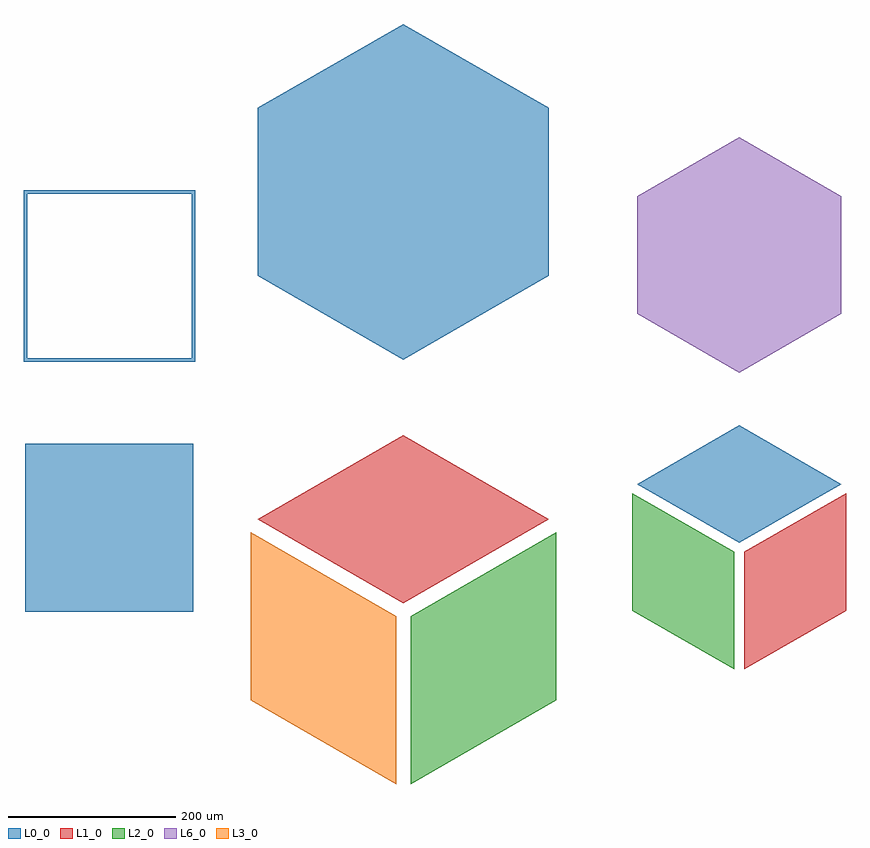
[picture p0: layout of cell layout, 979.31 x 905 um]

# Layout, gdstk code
import gdstk
lib = gdstk.Library(unit=1e-6, precision=5e-09)
def R(c, l, rs):  # rectangles x0, y0, x1, y1
    for r in rs: c.add(gdstk.rectangle(r[:2], r[2:], *l))
def P(c, l, *ps):  # polygons
    for p in ps: c.add(gdstk.Polygon(p, *l))
L0_0 = (0, 0)
L1_0 = (1, 0)
L2_0 = (2, 0)
L3_0 = (3, 0)
L6_0 = (6, 0)

rectangles = lib.new_cell('rectangles')
R(rectangles, L0_0, [(-100,-250,100,-50)])
P(rectangles, L0_0, [(98,248),(-98,248),(-98,52),(98,52),(102,48),(-102,48),(-102,252),(102,252)],
  [(-98,52),(98,52),(98,248),(-98,248),(-102,252),(102,252),(102,48),(-102,48)])

imp1_filled = lib.new_cell('imp1_filled')
P(imp1_filled, L1_0, [(0,10),(173.205,110),(0,210),(-173.205,110)])
P(imp1_filled, L2_0, [(8.66,-5),(181.865,95),(181.865,-105),(8.66,-205)])
P(imp1_filled, L3_0, [(-8.66,-5),(-181.865,95),(-181.865,-105),(-8.66,-205)])

imp1_open = lib.new_cell('imp1_open')
P(imp1_open, L0_0, [(-173.205,100),(-173.205,-100),(0,-200),(173.205,-100),(173.205,100),(0,200)])

imp1_layout = lib.new_cell('imp1_layout')
imp1_layout.add(gdstk.Reference(imp1_filled, (0,-250)))
imp1_layout.add(gdstk.Reference(imp1_open, (0,250)))

imp2_filled = lib.new_cell('imp2_filled')
P(imp2_filled, L0_0, [(0,7),(121.245,77),(0,147),(-121.245,77)])
P(imp2_filled, L1_0, [(6.06,-3.5),(127.305,66.5),(127.305,-73.5),(6.06,-143.5)])
P(imp2_filled, L2_0, [(-6.06,-3.5),(-127.305,66.5),(-127.305,-73.5),(-6.06,-143.5)])

imp2_open = lib.new_cell('imp2_open')
P(imp2_open, L6_0, [(-121.245,70),(-121.245,-70),(0,-140),(121.245,-70),(121.245,70),(0,140)])

imp2_layout = lib.new_cell('imp2_layout')
imp2_layout.add(gdstk.Reference(imp2_filled, (0,-175)))
imp2_layout.add(gdstk.Reference(imp2_open, (0,175)))

layout = lib.new_cell('layout')
layout.add(gdstk.Reference(rectangles, (0,0)))
layout.add(gdstk.Reference(imp1_layout, (350,0)))
layout.add(gdstk.Reference(imp2_layout, (750,0)))

lib.write_gds('layout.gds')
